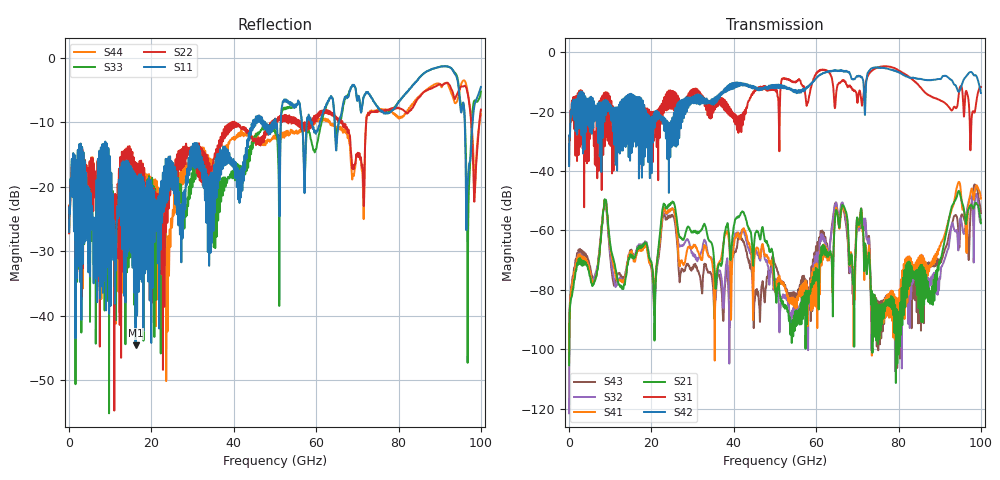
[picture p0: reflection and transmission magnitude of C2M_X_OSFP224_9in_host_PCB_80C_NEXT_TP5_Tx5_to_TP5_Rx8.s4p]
# GHz S RI R 45
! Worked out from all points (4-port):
!   4000 points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, 25 MHz to 100 GHz, reference 45 ohm
!   strongest paths, dB at 25 MHz, 25.02 GHz, 50.02 GHz, 75.03 GHz, 100 GHz:
!     S42: -38.3, -25.0, -11.0, -5.2, -13.7
!     S31: -37.8, -15.4, -12.1, -5.0, -11.6
!     S21: -105.5, -50.4, -79.6, -91.3, -57.6
!     S41: -104.5, -52.6, -79.1, -87.2, -49.3
!     S32: -121.6, -52.5, -77.5, -90.0, -56.3
!     S43: -102.0, -54.8, -71.4, -89.7, -54.1
!   lowest |S11| = -44.6 dB at 16.15 GHz (marker M1), VSWR 1.01, Z = 44.5 - j0.054 ohm
!   |S11| at or under -10 dB: start of sweep to 44.63 GHz; 58.96 GHz to 60.91 GHz (1.943 GHz wide, 3.24 % of centre); 96.08 GHz to 98 GHz (1.928 GHz wide, 1.99 % of centre) (the widest 3 of 16)
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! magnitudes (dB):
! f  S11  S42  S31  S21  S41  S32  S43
! 25 MHz  -27.0  -38.3  -37.8  -105.5  -104.5  -121.6  -102.0
! 8.725 GHz  -16.0  -16.3  -17.5  -49.9  -50.0  -50.3  -50.3
! 16.15 GHz  -44.6  -17.1  -22.1  -68.3  -69.4  -67.6  -68.2
! 58.05 GHz  -9.5  -11.5  -16.8  -82.2  -81.7  -100.3  -79.6
! 66.38 GHz  -7.8  -6.3  -9.3  -51.4  -52.3  -50.5  -51.5
! 80 GHz  -6.9  -6.7  -6.1  -101.7  -83.2  -83.6  -98.3
! 100 GHz  -4.6  -13.7  -11.6  -57.6  -49.3  -56.3  -54.1
